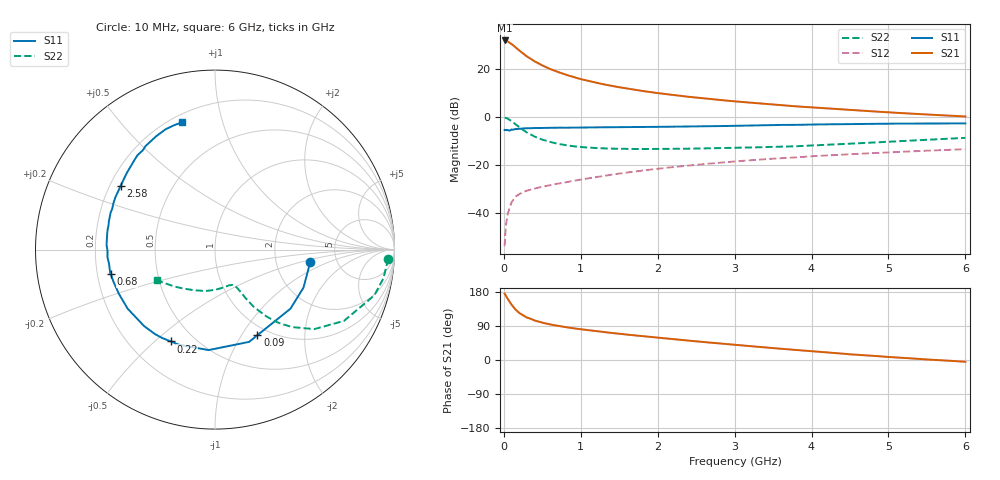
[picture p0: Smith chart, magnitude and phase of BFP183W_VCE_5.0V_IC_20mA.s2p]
! Infineon Technologies  Discrete & RF Semiconductors
! BFP183W
! VCE = 5.0 V,  IC =  20 mA
! Common Emitter S-Parameters:  Jan 2016
# GHz  S  MA  R  50
!  f  S11  S21  S12  S22
! GHz  MAG  ANG  MAG  ANG  MAG  ANG  MAG  ANG
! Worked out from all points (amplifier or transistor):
!   210 points, 10 MHz to 6 GHz, reference 50 ohm
!   highest |S21| = 31.9 dB at 10 MHz (marker M1)
!   |S21| within 3 dB of that: start of sweep to 158.1 MHz
!   unconditionally stable (mu >= 1): 971.6 MHz to 4.977 GHz
!   at 185 MHz: K = 0.33, MSG = 30.4 dB, |S12| = -32.6 dB
!   at 1.52 GHz: K = 1.11, MAG = 15.9 dB, |S12| = -23.6 dB
!   at 6 GHz: K = 0.97, MSG = 6.8 dB, |S12| = -13.5 dB
!   S11 on the Smith chart (normalised r, x): 10 MHz: 3.16, -0.63; 90 MHz: 0.88, -1.18; 220 MHz: 0.37, -0.56; 680 MHz: 0.26, -0.11; 2.58 GHz: 0.24, +0.29; 6 GHz: 0.24, +0.75
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0.01  0.5351 -7.6  39.55 175.0  0.002 86.6  0.9664 -3.1
0.03  0.5366 -23.2  39.1 168.6  0.0058 83.2  0.9519 -9.7
0.05  0.534 -38.0  37.83 161.2  0.0092 75.6  0.9239 -16.0
0.09  0.5323 -63.6  34.16 149.1  0.0148 65.5  0.8376 -26.2
0.1  0.5481 -69.7  33.51 145.7  0.0163 64.1  0.8206 -29.0
0.15  0.5609 -93.6  28.73 133.2  0.0215 56.0  0.7084 -38.7
0.2  0.5669 -110.6  24.46 124.2  0.0244 51.2  0.611 -45.0
0.22  0.5679 -115.7  23.08 121.7  0.0255 49.8  0.5798 -46.7
0.26  0.5773 -125.2  20.54 116.5  0.0275 47.5  0.5216 -50.0
0.3  0.581 -132.7  18.33 112.1  0.0288 46.4  0.4724 -52.3
0.4  0.5877 -146.0  14.47 104.2  0.0321 45.2  0.3885 -55.8
0.5  0.5896 -155.5  11.9 98.3  0.0348 45.9  0.3352 -57.4
0.68  0.5966 -166.7  8.988 90.9  0.0398 48.2  0.2803 -58.8
0.8  0.5956 -172.4  7.656 86.7  0.043 49.7  0.2574 -59.4
1.02  0.5999 -179.9  6.062 80.6  0.0497 52.2  0.2344 -61.0
1.4  0.6088 169.4  4.459 71.4  0.0622 54.3  0.2179 -64.7
2.02  0.6212 156.1  3.122 58.5  0.0834 55.0  0.2146 -73.7
2.58  0.6337 145.8  2.457 47.7  0.1027 53.5  0.2199 -83.8
3.1  0.6554 137.0  2.052 38.5  0.1209 51.0  0.2274 -94.9
4.1  0.6974 122.5  1.549 21.6  0.1539 45.4  0.2569 -118.6
5.1  0.7254 111.5  1.221 6.8  0.1849 39.2  0.3107 -139.4
6  0.7327 104.4  1.022 -4.7  0.2122 33.9  0.3659 -152.3
